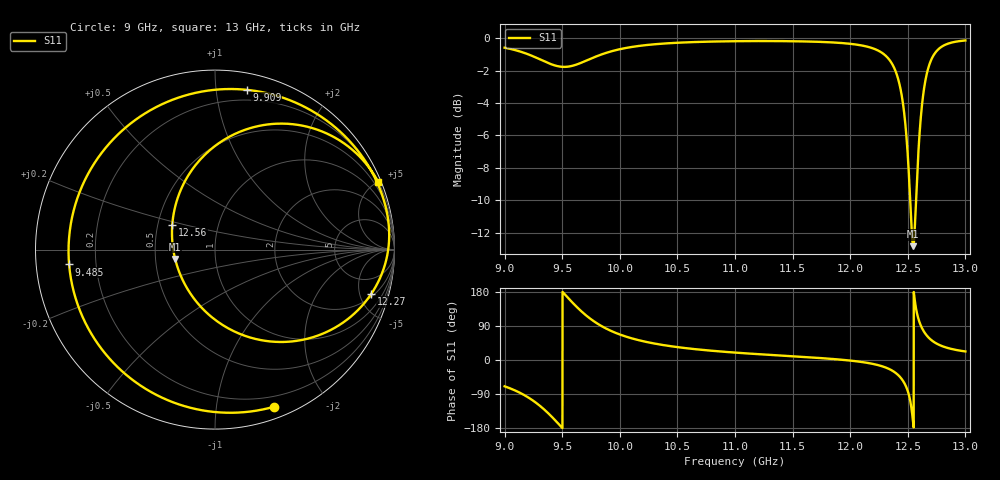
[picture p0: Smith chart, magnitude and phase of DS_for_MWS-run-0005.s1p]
! TOUCHSTONE file generated by CST DESIGN STUDIO
! Date and time: Wed Feb  5 13:32:13 2025
! Project name: C:\Work\MatlabApps\UnitCellOptimizationMatlab\CST\unitcell.cst
! Tree item: Tasks\Sweep1\SPara1\S-Parameters
! Header version: 2024
! Port assignment regex: !\s*Touchstone port\s*([0-9]+)\s*=\s*(CST MWS port|CST DES external port|CST DES block port)\s*(.+)\s* \(\"(.*)\"\)(\s*mode\s*([0-9]+))?.*
! Touchstone port assignment:
! Touchstone port 1 = CST DES external port 1 ("")
# GHz S MA R 50
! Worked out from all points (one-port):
!   4001 points, 9 GHz to 13 GHz, reference 50 ohm
!   lowest |S11| = -12.8 dB at 12.55 GHz (marker M1), VSWR 1.59, Z = 31.7 - j3.53 ohm
!   |S11| at or under -10 dB: 12.52082 GHz to 12.5716 GHz (50.78 MHz wide, 0.405 % of centre)
!   S11 on the Smith chart (normalised r, x): 9 GHz: 0.10, -1.44; 9.485 GHz: 0.10, -0.05; 9.909 GHz: 0.12, +1.21; 12.27 GHz: 2.34, -6.37; 12.56 GHz: 0.60, +0.18; 13 GHz: 0.21, +5.01
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9  0.9352 -69.4
9.159  0.904 -90.7
9.273  0.8715 -112.9
9.373  0.84 -138.8
9.485  0.8171 -174.2
9.5  0.8161 -179.2
9.586  0.8216 152.4
9.696  0.849 120.6
9.792  0.8777 98.7
9.909  0.9075 78.8
10  0.925 67.3
10.215  0.9514 48.7
10.5  0.9684 34.0
11  0.9791 19.5
11.5  0.9789 9.8
12  0.9612 -1.5
12.269  0.905 -15.8
12.345  0.8535 -24.8
12.403  0.7752 -36.1
12.461  0.6179 -56.3
12.5  0.4341 -82.2
12.547  0.2281 -166.6
12.564  0.2748 150.0
12.612  0.5642 91.7
12.663  0.7715 65.2
12.718  0.8789 49.4
12.785  0.9369 38.2
13  0.9844 22.5
